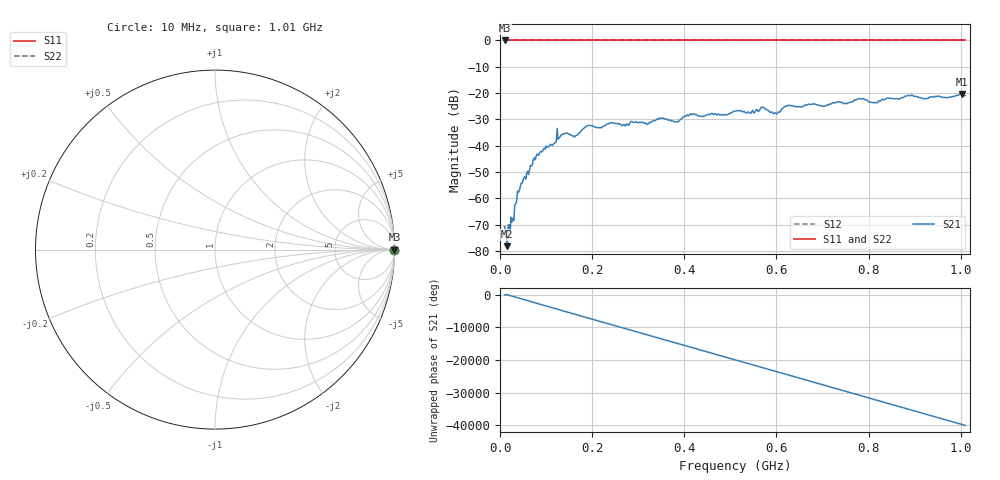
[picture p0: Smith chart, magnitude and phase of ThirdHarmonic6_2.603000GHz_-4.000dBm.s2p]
! 8/17/2025 5:38:51 AM
! C:\ANRITSUVNA\TEMP\TEMP.S2P
! CHANNEL.1
! TR.MEASUREMENT
! RAW.DATA
! RF.CORRECTION.OFF
! AVERAGING.OFF
! IF.BANDWIDTH: 5KHZ
! SWEEPTYPE:  FREQ.SWEEP(Linear)
! Reference Plane Port Info
! PORT:  PORT1  PORT2
! DISTANCE:  0  m  0  m
! TIME:  0  s  0  s
! PHASE.OFFSET:  0  deg.  0  deg.
! LOSS:  0  dB  0  dB
! REF.LOSS:  0  dB  0  dB
! REF.FREQ:  0  Hz  0  Hz
! Power Info
! POWER:  -20  dBm  -20  dBm
! EFF.POWER:  -20  dBm  -20  dBm
! SOURCE.ATTEN:  0  dB  0  dB
! TEST.ATTEN:  0  dB  0  dB
# GHZ S RI R 50.0
! FREQ.GHZ  S11RE  S11IM  S21RE  S21IM  S12RE  S12IM  S22RE  S22IM
!; PortSelection: Port_12
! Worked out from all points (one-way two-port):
!   501 points, 10 MHz to 1.01 GHz, reference 50 ohm
!   highest |S21| = -20.37 dB at 1.002 GHz (marker M1); lowest = -78.2 dB at 16 MHz (marker M2)
!   lowest |S11| = 0.0 dB at 10 MHz (marker M3)
!   |S11| at or under -10 dB: nowhere
!   |S22| runs from 0.0 to 0.0 dB; largest |S21 - S12| = 1.1
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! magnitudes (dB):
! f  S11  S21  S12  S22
! 10 MHz  0.0  -70.7  0.0  0.0
! 16 MHz  0.0  -78.2  0.0  0.0
! 26 MHz  0.0  -69.0  0.0  0.0
! 42 MHz  0.0  -57.1  0.0  0.0
! 76 MHz  0.0  -45.4  0.0  0.0
! 128 MHz  0.0  -37.2  0.0  0.0
! 164 MHz  0.0  -36.2  0.0  0.0
! 178 MHz  0.0  -33.9  0.0  0.0
! 192 MHz  0.0  -32.3  0.0  0.0
! 318 MHz  0.0  -31.7  0.0  0.0
! 344 MHz  0.0  -30.0  0.0  0.0
! 382 MHz  0.0  -30.9  0.0  0.0
! 416 MHz  0.0  -28.2  0.0  0.0
! 510 MHz  0.0  -26.8  0.0  0.0
! 570 MHz  0.0  -25.4  0.0  0.0
! 598 MHz  0.0  -27.7  0.0  0.0
! 624 MHz  0.0  -24.8  0.0  0.0
! 678 MHz  0.0  -24.2  0.0  0.0
! 814 MHz  0.0  -23.6  0.0  0.0
! 844 MHz  0.0  -22.0  0.0  0.0
! 1.002 GHz  0.0  -20.4  0.0  0.0
! 1.01 GHz  0.0  -20.9  0.0  0.0
